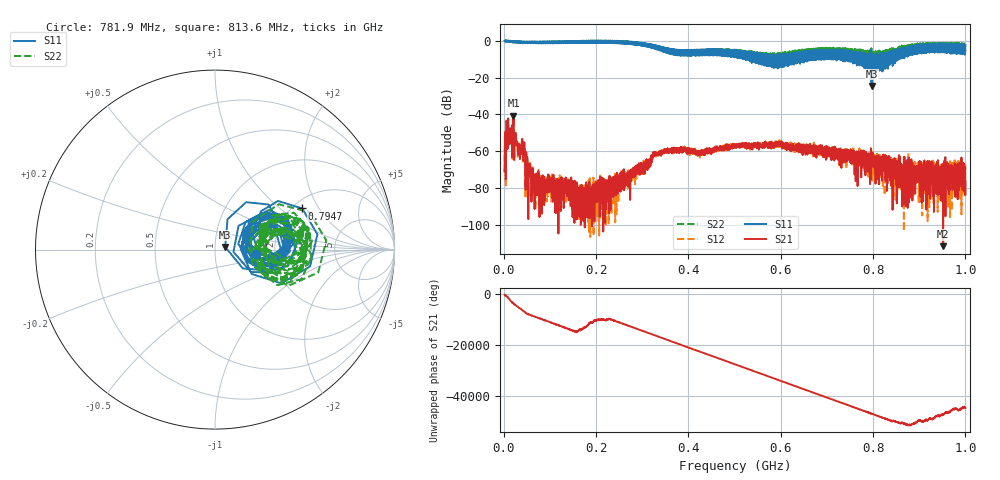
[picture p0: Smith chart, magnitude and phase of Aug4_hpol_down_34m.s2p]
!Keysight Technologies N9923A: A.12.45
!Date: Tuesday, 05 August 2025 18:47:10
!Timezone: (UTC+08:00) Kuala Lumpur, Singapore
!Model: N9923A
!Serial: MY61181427
!GPS Latitude:
!GPS Longitude:
!GPS TimeStamp: 0001-01-01 00:00:00Z
!GPS Seconds Since Last Read: 0
!CHECKSUM:1310365360
!Correction: S11(ON U)S21(ON U)S12(ON U)S22(ON U)
!S2P File: Measurements:S11,S21,S12,S22:
# Hz S DB R 50
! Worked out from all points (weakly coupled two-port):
!   4001 points, 2 MHz to 1 GHz, reference 50 ohm
!   highest |S21| = -40.68 dB at 21.21 MHz (marker M1); lowest = -111.5 dB at 951.8 MHz (marker M2)
!   lowest |S11| = -24.6 dB at 796.9 MHz (marker M3), VSWR 1.12, Z = 56 + j1.71 ohm
!   |S11| at or under -10 dB: 575.8141 MHz to 576.6259 MHz (811.8 kHz wide, 0.141 % of centre); 582.5693 MHz to 583.382 MHz (812.7 kHz wide, 0.139 % of centre); 584.2181 MHz to 585.0866 MHz (868.5 kHz wide, 0.149 % of centre)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
!   |S22| runs from -14.4 to 0.1 dB; largest |S21 - S12| = 0.0013
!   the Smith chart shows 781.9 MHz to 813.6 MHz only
!   S11 on the Smith chart (normalised r, x): 781.9 MHz: 1.59, -0.09; 794.7 MHz: 2.24, +1.45; 813.6 MHz: 1.39, +0.25
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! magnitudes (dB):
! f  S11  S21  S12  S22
! 2 MHz  -0.1  -70.9  -71.4  -0.1
! 9.984 MHz  -0.1  -45.5  -45.5  0.0
! 21.21 MHz  -0.7  -40.7  -40.7  -0.7
! 32.94 MHz  -0.8  -57.1  -56.5  -0.8
! 41.67 MHz  -0.6  -64.0  -64.3  -0.5
! 51.65 MHz  -0.6  -66.8  -66.3  -0.6
! 64.62 MHz  -1.2  -74.7  -76.2  -1.2
! 168.4 MHz  -1.2  -78.4  -89.0  -1.0
! 234.5 MHz  -0.3  -77.1  -83.7  -0.4
! 270.7 MHz  -1.7  -72.6  -77.2  -1.4
! 334.8 MHz  -3.9  -60.4  -61.7  -4.6
! 501 MHz  -6.0  -56.7  -56.1  -6.7
! 588.1 MHz  -14.6  -56.4  -55.9  -10.9
! 667.4 MHz  -9.0  -58.9  -59.8  -8.5
! 781.9 MHz  -12.7  -70.8  -62.1  -10.5
! 794.7 MHz  -5.4  -71.1  -64.8  -6.8
! 796.9 MHz  -24.6  -62.9  -64.0  -7.2
! 813.6 MHz  -14.3  -66.2  -66.7  -6.4
! 833.8 MHz  -9.8  -71.8  -65.9  -5.5
! 868.5 MHz  -4.0  -73.1  -68.7  -5.5
! 951.8 MHz  -6.0  -111.5  -73.2  -2.1
! 1 GHz  -2.2  -76.4  -70.7  -2.8
